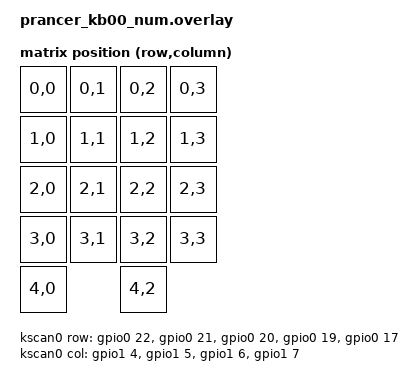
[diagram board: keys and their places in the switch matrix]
/*
 * Copyright (c) 2021 The ZMK Contributors
 *
 * SPDX-License-Identifier: MIT
 */

#include <dt-bindings/led/led.h>
#include <dt-bindings/zmk/matrix_transform.h>

/ {
    chosen {
        zmk,kscan = &kscan0;
        zmk,matrix_transform = &default_transform;
        zmk,underglow = &led_strip;
    };

    kscan0: kscan_0 {
        compatible = "zmk,kscan-gpio-matrix";
        label = "KSCAN";
        diode-direction = "col2row";

        col-gpios
            = <&gpio1 4  GPIO_ACTIVE_HIGH>
            , <&gpio1 5  GPIO_ACTIVE_HIGH>
            , <&gpio1 6  GPIO_ACTIVE_HIGH>
            , <&gpio1 7  GPIO_ACTIVE_HIGH>
            ;

        row-gpios
            = <&gpio0 22 (GPIO_ACTIVE_HIGH | GPIO_PULL_DOWN)>
            , <&gpio0 21 (GPIO_ACTIVE_HIGH | GPIO_PULL_DOWN)>
            , <&gpio0 20 (GPIO_ACTIVE_HIGH | GPIO_PULL_DOWN)>
            , <&gpio0 19 (GPIO_ACTIVE_HIGH | GPIO_PULL_DOWN)>
            , <&gpio0 17 (GPIO_ACTIVE_HIGH | GPIO_PULL_DOWN)>
            ;
    };

    default_transform: matrix_transform {
        compatible = "zmk,matrix-transform";
        rows = <5>;
        columns = <4>;
        // ┌───┬───┬───┬───┐
        // │NUM│ / │ * │ - │
        // ├───┼───┼───┼───┤
        // │ 7 │ 8 │ 9 │ + │
        // ├───┼───┼───┤───│
        // │ 4 │ 5 │ 6 │DEL│
        // ├───┼───┼───┼───┤
        // │ 1 │ 2 │ 3 │RET│
        // ├───┴───┼───┤   │
        // │ 0     │ . │   │
        // └───────┴───┴───┘
        // Use the transformation to remap and ignore the gaps due to the
        // 2u spacing on the zero and return keys.
        map = <
            RC(0,0) RC(0,1) RC(0,2) RC(0,3)
            RC(1,0) RC(1,1) RC(1,2) RC(1,3)
            RC(2,0) RC(2,1) RC(2,2) RC(2,3)
            RC(3,0) RC(3,1) RC(3,2) RC(3,3)
            RC(4,0)         RC(4,2)
        >;
    };
};

&spi1 {
  compatible = "nordic,nrf-spim";
  status = "okay";
  mosi-pin = <40>;
  // Unused pins, needed for SPI definition, but not used by the ws2812 driver itself.
  sck-pin = <30>;
  miso-pin = <31>;

  led_strip: ws2812@0 {
    compatible = "worldsemi,ws2812-spi";
    label = "WS2812";

    /* SPI */
    reg = <0>; /* ignored, but necessary for SPI bindings */
    spi-max-frequency = <4000000>;

    /* WS2812 */
    chain-length = <6>; /* number of LEDs */
    spi-one-frame = <0x70>; /* With 4MHz this 3 high bits gives a 750ns "high" period & > 500ns low period required by the chip. */
    spi-zero-frame = <0x40>; /* With 4MHz this 1 bit gives a 250ns "high" period & > 1us low period required by the chip. */
    reset-delay = <80>;
    color-mapping = <LED_COLOR_ID_GREEN
                          LED_COLOR_ID_RED
                          LED_COLOR_ID_BLUE>;
  };
};

&i2c0 {
    /*
	lcd: lcd@27 {
		compatible = "hit,hd44780";
		label = "HD44780";
		reg = <0x27>;
	};
    */
};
